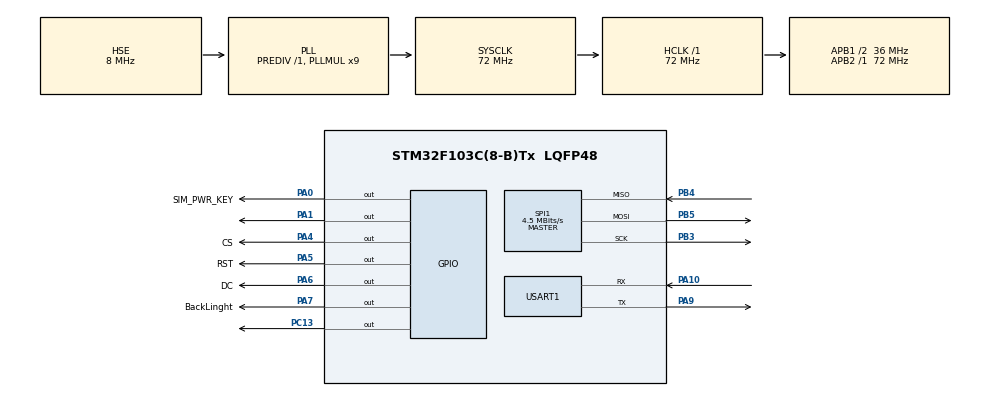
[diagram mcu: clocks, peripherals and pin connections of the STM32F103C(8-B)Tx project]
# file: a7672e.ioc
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Dma.Request0=SPI1_TX
Dma.SPI1_TX.0.Direction=DMA_MEMORY_TO_PERIPH
Dma.SPI1_TX.0.Instance=DMA1_Channel3
Dma.SPI1_TX.0.MemDataAlignment=DMA_MDATAALIGN_BYTE
Dma.SPI1_TX.0.MemInc=DMA_MINC_ENABLE
Dma.SPI1_TX.0.Mode=DMA_NORMAL
Dma.SPI1_TX.0.PeriphDataAlignment=DMA_PDATAALIGN_BYTE
Dma.SPI1_TX.0.PeriphInc=DMA_PINC_DISABLE
Dma.SPI1_TX.0.Priority=DMA_PRIORITY_LOW
FREERTOS.Tasks01=defaultTask,0,128,StartDefaultTask,Default,NULL,Dynamic,NULL,NULL
FREERTOS.configUSE_NEWLIB_REENTRANT=1
Mcu.Family=STM32F1
Mcu.Name=STM32F103C(8-B)Tx
Mcu.Package=LQFP48
NVIC.DMA1_Channel3_IRQn=true\:5\:0\:false\:false\:true\:true\:false\:true\:true
NVIC.PriorityGroup=NVIC_PRIORITYGROUP_4
NVIC.TIM4_IRQn=true\:15\:0\:false\:false\:true\:false\:false\:true\:true
NVIC.TimeBase=TIM4_IRQn
NVIC.TimeBaseIP=TIM4
PA0-WKUP.GPIO_Label=SIM_PWR_KEY
PA0-WKUP.Signal=GPIO_Output
PA1.Signal=GPIO_Output
PA10.Mode=Asynchronous
PA10.Signal=USART1_RX
PA13.Mode=Serial_Wire
PA13.Signal=SYS_JTMS-SWDIO
PA14.Mode=Serial_Wire
PA14.Signal=SYS_JTCK-SWCLK
PA4.GPIO_Label=CS
PA4.Signal=GPIO_Output
PA5.GPIO_Label=RST
PA5.Signal=GPIO_Output
PA6.GPIO_Label=DC
PA6.Signal=GPIO_Output
PA7.GPIO_Label=BackLinght
PA7.Signal=GPIO_Output
PA9.Mode=Asynchronous
PA9.Signal=USART1_TX
PB3.Mode=Full_Duplex_Master
PB3.Signal=SPI1_SCK
PB4.Mode=Full_Duplex_Master
PB4.Signal=SPI1_MISO
PB5.Mode=Full_Duplex_Master
PB5.Signal=SPI1_MOSI
PC13-TAMPER-RTC.Signal=GPIO_Output
PD0-OSC_IN.Mode=HSE-External-Oscillator
PD0-OSC_IN.Signal=RCC_OSC_IN
PD1-OSC_OUT.Mode=HSE-External-Oscillator
PD1-OSC_OUT.Signal=RCC_OSC_OUT
ProjectManager.HeapSize=0x200
ProjectManager.StackSize=0x400
ProjectManager.TargetToolchain=STM32CubeIDE
RCC.AHBFreq_Value=72000000
RCC.APB1CLKDivider=RCC_HCLK_DIV2
RCC.APB1Freq_Value=36000000
RCC.APB1TimFreq_Value=72000000
RCC.APB2Freq_Value=72000000
RCC.APB2TimFreq_Value=72000000
RCC.HCLKFreq_Value=72000000
RCC.PLLMUL=RCC_PLL_MUL9
RCC.PLLSourceVirtual=RCC_PLLSOURCE_HSE
RCC.SYSCLKFreq_VALUE=72000000
RCC.SYSCLKSource=RCC_SYSCLKSOURCE_PLLCLK
RCC.USBFreq_Value=72000000
SPI1.BaudRatePrescaler=SPI_BAUDRATEPRESCALER_16
SPI1.CalculateBaudRate=4.5 MBits/s
SPI1.Direction=SPI_DIRECTION_2LINES
SPI1.Mode=SPI_MODE_MASTER
SPI1.VirtualType=VM_MASTER
USART1.VirtualMode=VM_ASYNC
VP_FREERTOS_VS_CMSIS_V1.Mode=CMSIS_V1
VP_SYS_VS_tim4.Mode=TIM4
board=custom

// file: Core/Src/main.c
/* USER CODE BEGIN Header */
/**
  ******************************************************************************
  * @file           : main.c
  * @brief          : Main program body
  ******************************************************************************
  * @attention
  *
  * Copyright (c) 2025 STMicroelectronics.
  * All rights reserved.
  *
  * This software is licensed under terms that can be found in the LICENSE file
  * in the root directory of this software component.
  * If no LICENSE file comes with this software, it is provided AS-IS.
  *
  ******************************************************************************
  */
/* USER CODE END Header */
#include "main.h"
#include "cmsis_os.h"

/* USER CODE BEGIN Includes */
#include "u8g2.h"
/* USER CODE END Includes */

SPI_HandleTypeDef hspi1;
DMA_HandleTypeDef hdma_spi1_tx;

UART_HandleTypeDef huart1;

osThreadId defaultTaskHandle;

void SystemClock_Config(void);
static void MX_GPIO_Init(void);
static void MX_DMA_Init(void);
static void MX_SPI1_Init(void);
static void MX_USART1_UART_Init(void);
void StartDefaultTask(void const * argument);

/* USER CODE BEGIN 0 */

uint8_t u8x8_stm32_gpio_and_delay(u8x8_t *u8x8, uint8_t msg, uint8_t arg_int, void *arg_ptr)
{
	/* STM32 supports HW SPI, Remove unused cases like U8X8_MSG_DELAY_XXX & U8X8_MSG_GPIO_XXX */
	switch(msg)
	{
	case U8X8_MSG_GPIO_AND_DELAY_INIT:
		/* Insert codes for initialization */
		break;
	case U8X8_MSG_DELAY_MILLI:
		/* ms Delay */
		HAL_Delay(arg_int);
		break;
	case U8X8_MSG_GPIO_CS:
		/* Insert codes for SS pin control */
		HAL_GPIO_WritePin(CS_GPIO_Port, CS_Pin, arg_int);
//		HAL_Delay(1);
		break;
	case U8X8_MSG_GPIO_DC:
		/* Insert codes for DC pin control */
		HAL_GPIO_WritePin(DC_GPIO_Port, DC_Pin, arg_int);
		break;
	case U8X8_MSG_GPIO_RESET:
		/* Insert codes for RST pin control */
		HAL_GPIO_WritePin(RST_GPIO_Port, RST_Pin, arg_int);
		break;
	}
	return 1;
}

#define TX_TIMEOUT 100

uint8_t u8x8_byte_stm32_hw_spi(u8x8_t *u8x8, uint8_t msg, uint8_t arg_int, void *arg_ptr)
{
	switch(msg) {
	case U8X8_MSG_BYTE_SEND:
		/* Insert codes to transmit data SPI_SR_BSY */
		while(!(SPI1->SR & SPI_SR_TXE)){};
		if(HAL_SPI_Transmit_DMA(&hspi1, arg_ptr, arg_int) != HAL_OK){
			  Error_Handler();
		}
//		HAL_SPI_Transmit(&hspi1, arg_ptr, arg_int, TX_TIMEOUT);
		while (SPI1->SR & SPI_SR_BSY){};
//		HAL_Delay(10);
//		while (hspi1.hdmatx->State != HAL_DMA_STATE_READY);
//		if(HAL_SPI_Transmit_DMA(&hspi1, arg_ptr, arg_int) != HAL_OK){
//		    Error_Handler();
//		}
//		while (hspi1.hdmatx->State != HAL_DMA_STATE_READY);

		break;
	case U8X8_MSG_BYTE_INIT:
		/* Insert codes to begin SPI transmission */
		break;
	case U8X8_MSG_BYTE_SET_DC:
//		while (SPI1->SR & SPI_SR_BSY){};
		/* Control DC pin, U8X8_MSG_GPIO_DC will be called */
		while(!(SPI1->SR & SPI_SR_TXE)){};
		while (SPI1->SR & SPI_SR_BSY){};
		u8x8_gpio_SetDC(u8x8, arg_int);

//		HAL_Delay(5);
		break;
	case U8X8_MSG_BYTE_START_TRANSFER:
		/* Select slave, U8X8_MSG_GPIO_CS will be called */
		u8x8_gpio_SetCS(u8x8, u8x8->display_info->chip_enable_level);
//		HAL_Delay(5);
		break;
	case U8X8_MSG_BYTE_END_TRANSFER:
		/* Insert codes to end SPI transmission */
//		HAL_Delay(5);
		while(!(SPI1->SR & SPI_SR_TXE)){};
		while (SPI1->SR & SPI_SR_BSY){};
		u8x8_gpio_SetCS(u8x8, u8x8->display_info->chip_disable_level);
		break;
	default:
		return 0;
	}
	return 1;
}
static u8g2_t u8g2;

/* USER CODE END 0 */

int main(void)
{

  /* MCU Configuration--------------------------------------------------------*/

  /* Reset of all peripherals, Initializes the Flash interface and the Systick. */
  HAL_Init();

  /* Configure the system clock */
  SystemClock_Config();

  /* Initialize all configured peripherals */
  MX_GPIO_Init();
  MX_DMA_Init();
  MX_SPI1_Init();
  MX_USART1_UART_Init();
  /* USER CODE BEGIN 2 */
  /* Initialize Display */
  u8g2_Setup_uc1638_240x64_f(&u8g2, U8G2_R2, u8x8_byte_stm32_hw_spi, u8x8_stm32_gpio_and_delay);
  u8g2_InitDisplay(&u8g2);
  u8g2_SetPowerSave(&u8g2, 0);
//  u8g2_SetFont(&u8g2, u8g2_font_ncenB08_tr);
  u8g2_SetFont(&u8g2, u8g2_font_cu12_t_cyrillic);
  /* USER CODE END 2 */

  /* Create the thread(s) */
  /* definition and creation of defaultTask */
  osThreadDef(defaultTask, StartDefaultTask, osPriorityNormal, 0, 128);
  defaultTaskHandle = osThreadCreate(osThread(defaultTask), NULL);

  /* Start scheduler */
  osKernelStart();

  /* We should never get here as control is now taken by the scheduler */
  /* Infinite loop */
  while (1)
  {

  }
}

void SystemClock_Config(void)
{
  RCC_OscInitTypeDef RCC_OscInitStruct = {0};
  RCC_ClkInitTypeDef RCC_ClkInitStruct = {0};

  /** Initializes the RCC Oscillators according to the specified parameters
  * in the RCC_OscInitTypeDef structure.
  */
  RCC_OscInitStruct.OscillatorType = RCC_OSCILLATORTYPE_HSE;
  RCC_OscInitStruct.HSEState = RCC_HSE_ON;
  RCC_OscInitStruct.HSEPredivValue = RCC_HSE_PREDIV_DIV1;
  RCC_OscInitStruct.HSIState = RCC_HSI_ON;
  RCC_OscInitStruct.PLL.PLLState = RCC_PLL_ON;
  RCC_OscInitStruct.PLL.PLLSource = RCC_PLLSOURCE_HSE;
  RCC_OscInitStruct.PLL.PLLMUL = RCC_PLL_MUL9;
  if (HAL_RCC_OscConfig(&RCC_OscInitStruct) != HAL_OK)
  {
    Error_Handler();
  }

  /** Initializes the CPU, AHB and APB buses clocks
  */
  RCC_ClkInitStruct.ClockType = RCC_CLOCKTYPE_HCLK|RCC_CLOCKTYPE_SYSCLK
                              |RCC_CLOCKTYPE_PCLK1|RCC_CLOCKTYPE_PCLK2;
  RCC_ClkInitStruct.SYSCLKSource = RCC_SYSCLKSOURCE_PLLCLK;
  RCC_ClkInitStruct.AHBCLKDivider = RCC_SYSCLK_DIV1;
  RCC_ClkInitStruct.APB1CLKDivider = RCC_HCLK_DIV2;
  RCC_ClkInitStruct.APB2CLKDivider = RCC_HCLK_DIV1;

  if (HAL_RCC_ClockConfig(&RCC_ClkInitStruct, FLASH_LATENCY_2) != HAL_OK)
  {
    Error_Handler();
  }
}

static void MX_SPI1_Init(void)
{

  /* SPI1 parameter configuration*/
  hspi1.Instance = SPI1;
  hspi1.Init.Mode = SPI_MODE_MASTER;
  hspi1.Init.Direction = SPI_DIRECTION_2LINES;
  hspi1.Init.DataSize = SPI_DATASIZE_8BIT;
  hspi1.Init.CLKPolarity = SPI_POLARITY_LOW;
  hspi1.Init.CLKPhase = SPI_PHASE_1EDGE;
  hspi1.Init.NSS = SPI_NSS_SOFT;
  hspi1.Init.BaudRatePrescaler = SPI_BAUDRATEPRESCALER_16;
  hspi1.Init.FirstBit = SPI_FIRSTBIT_MSB;
  hspi1.Init.TIMode = SPI_TIMODE_DISABLE;
  hspi1.Init.CRCCalculation = SPI_CRCCALCULATION_DISABLE;
  hspi1.Init.CRCPolynomial = 10;
  if (HAL_SPI_Init(&hspi1) != HAL_OK)
  {
    Error_Handler();
  }

}

static void MX_USART1_UART_Init(void)
{

  huart1.Instance = USART1;
  huart1.Init.BaudRate = 115200;
  huart1.Init.WordLength = UART_WORDLENGTH_8B;
  huart1.Init.StopBits = UART_STOPBITS_1;
  huart1.Init.Parity = UART_PARITY_NONE;
  huart1.Init.Mode = UART_MODE_TX_RX;
  huart1.Init.HwFlowCtl = UART_HWCONTROL_NONE;
  huart1.Init.OverSampling = UART_OVERSAMPLING_16;
  if (HAL_UART_Init(&huart1) != HAL_OK)
  {
    Error_Handler();
  }

}

static void MX_DMA_Init(void)
{

  /* DMA controller clock enable */
  __HAL_RCC_DMA1_CLK_ENABLE();

  /* DMA interrupt init */
  /* DMA1_Channel3_IRQn interrupt configuration */
  HAL_NVIC_SetPriority(DMA1_Channel3_IRQn, 5, 0);
  HAL_NVIC_EnableIRQ(DMA1_Channel3_IRQn);

}

static void MX_GPIO_Init(void)
{
  GPIO_InitTypeDef GPIO_InitStruct = {0};

  /* GPIO Ports Clock Enable */
  __HAL_RCC_GPIOC_CLK_ENABLE();
  __HAL_RCC_GPIOD_CLK_ENABLE();
  __HAL_RCC_GPIOA_CLK_ENABLE();
  __HAL_RCC_GPIOB_CLK_ENABLE();

  /*Configure GPIO pin Output Level */
  HAL_GPIO_WritePin(GPIOC, GPIO_PIN_13, GPIO_PIN_RESET);

  /*Configure GPIO pin Output Level */
  HAL_GPIO_WritePin(GPIOA, SIM_PWR_KEY_Pin|GPIO_PIN_1|CS_Pin|RST_Pin
                          |DC_Pin|BackLinght_Pin, GPIO_PIN_RESET);

  /*Configure GPIO pin : PC13 */
  GPIO_InitStruct.Pin = GPIO_PIN_13;
  GPIO_InitStruct.Mode = GPIO_MODE_OUTPUT_PP;
  GPIO_InitStruct.Pull = GPIO_NOPULL;
  GPIO_InitStruct.Speed = GPIO_SPEED_FREQ_LOW;
  HAL_GPIO_Init(GPIOC, &GPIO_InitStruct);

  /*Configure GPIO pins : SIM_PWR_KEY_Pin PA1 CS_Pin RST_Pin
                           DC_Pin BackLinght_Pin */
  GPIO_InitStruct.Pin = SIM_PWR_KEY_Pin|GPIO_PIN_1|CS_Pin|RST_Pin
                          |DC_Pin|BackLinght_Pin;
  GPIO_InitStruct.Mode = GPIO_MODE_OUTPUT_PP;
  GPIO_InitStruct.Pull = GPIO_NOPULL;
  GPIO_InitStruct.Speed = GPIO_SPEED_FREQ_LOW;
  HAL_GPIO_Init(GPIOA, &GPIO_InitStruct);

}

void StartDefaultTask(void const * argument)
{
  /* USER CODE BEGIN 5 */
  u8g2_uint_t x = 0;
  HAL_GPIO_WritePin(DC_GPIO_Port, DC_Pin, GPIO_PIN_SET);
  HAL_GPIO_WritePin(CS_GPIO_Port, CS_Pin, GPIO_PIN_SET);
  HAL_GPIO_WritePin(BackLinght_GPIO_Port, BackLinght_Pin, GPIO_PIN_SET);

  /* Infinite loop */
  for(;;)
  {

    osDelay(1000);
//    if(x < 240 ){

  	    u8g2_ClearBuffer(&u8g2);
 // 	  	u8g2_DrawStr(&u8g2, 120, 32, "U8g2 HW SPI DMA");
  	  	u8g2_DrawUTF8(&u8g2,60,32, "Привет мир!!!");
  	  	u8g2_SendBuffer(&u8g2);
//  	  	x+=1;
//  	  }
//  	  else
//  	  {
//  		  x = 0;
//  	  }
  }
  /* USER CODE END 5 */
}

void HAL_TIM_PeriodElapsedCallback(TIM_HandleTypeDef *htim)
{
  if (htim->Instance == TIM4) {
    HAL_IncTick();
  }
}

void Error_Handler(void)
{
  __disable_irq();
  while (1)
  {
  }
}
